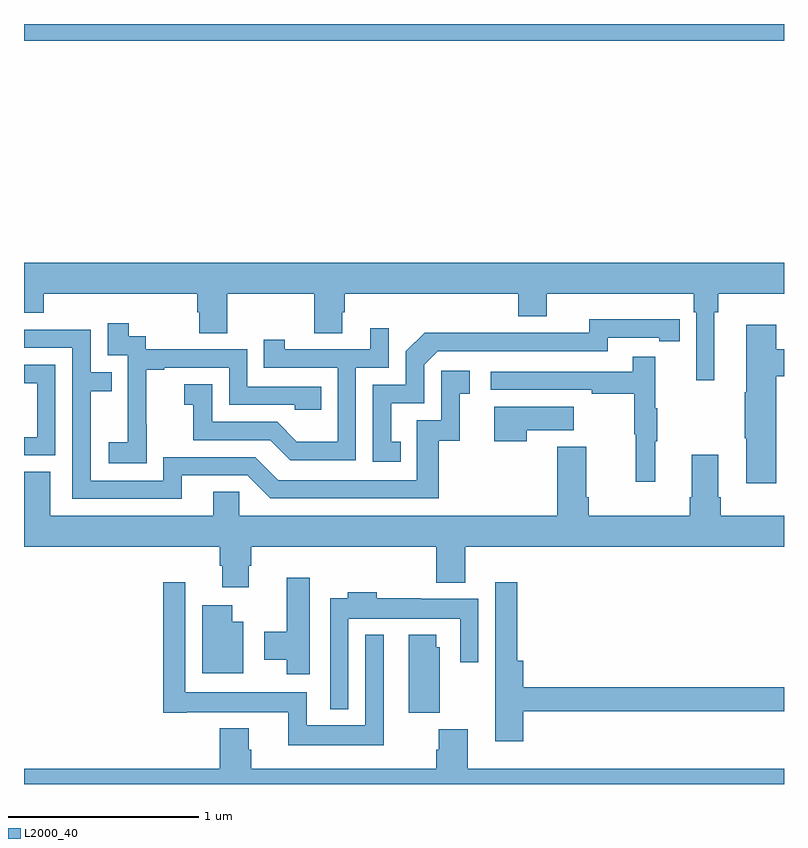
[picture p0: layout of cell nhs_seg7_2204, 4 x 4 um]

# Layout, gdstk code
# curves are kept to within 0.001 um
import gdstk
lib = gdstk.Library(unit=1e-6, precision=1e-09)
def R(c, l, rs):  # rectangles x0, y0, x1, y1
    for r in rs: c.add(gdstk.rectangle(r[:2], r[2:], *l))
def P(c, l, *ps):  # polygons
    for p in ps: c.add(gdstk.Polygon(p, *l))
L2000_40 = (2000, 40)

nhs_seg7_2204 = lib.new_cell('nhs_seg7_2204')
R(nhs_seg7_2204, L2000_40, [(255,1037.912,259,1038)])
P(nhs_seg7_2204, L2000_40, [(258.634,1036.484),(258.653,1036.484),(258.653,1036.58),(259,1036.58),(259,1036.744),(255,1036.744),(255,1036.481),(255.104,1036.481),(255.104,1036.58),(255.911,1036.58),(255.911,1036.482),(255.923,1036.482),(255.923,1036.372),(256.071,1036.372),(256.071,1036.58),(256.528,1036.58),(256.528,1036.372),(256.675,1036.372),(256.675,1036.482),(256.688,1036.482),(256.688,1036.58),(257.6,1036.58),(257.6,1036.463),(257.752,1036.463),(257.752,1036.58),(258.524,1036.58),(258.524,1036.484),(258.537,1036.484),(258.537,1036.125),(258.634,1036.125)],
  [(256.982,1035.801),(256.933,1035.801),(256.933,1036.005),(257.106,1036.005),(257.106,1036.206),(257.178,1036.278),(258.072,1036.278),(258.072,1036.35),(258.344,1036.35),(258.344,1036.33),(258.452,1036.33),(258.452,1036.446),(257.976,1036.447),(257.976,1036.374),(257.516,1036.374),(257.516,1036.376),(257.108,1036.376),(257.01,1036.278),(257.01,1036.101),(256.836,1036.101),(256.836,1035.696),(256.982,1035.696)],
  [(255.645,1035.895),(255.644,1035.895),(255.644,1036.179),(255.739,1036.179),(255.739,1036.191),(256.08,1036.191),(256.08,1035.996),(256.425,1035.996),(256.425,1035.969),(256.565,1035.969),(256.565,1036.092),(256.176,1036.092),(256.176,1036.287),(255.642,1036.287),(255.642,1036.356),(255.55,1036.356),(255.55,1036.426),(255.441,1036.426),(255.441,1036.257),(255.546,1036.257),(255.546,1036.028),(255.545,1036.028),(255.545,1035.799),(255.447,1035.799),(255.447,1035.689),(255.645,1035.689)],
  [(258.959,1036.145),(259,1036.145),(259,1036.287),(258.959,1036.287),(258.959,1036.417),(258.8,1036.417),(258.8,1036.061),(258.793,1036.061),(258.793,1035.82),(258.8,1035.82),(258.8,1035.582),(258.959,1035.582)],
  [(256.746,1036.191),(256.92,1036.191),(256.92,1036.399),(256.823,1036.399),(256.823,1036.287),(256.372,1036.287),(256.372,1036.339),(256.261,1036.339),(256.261,1036.191),(256.65,1036.191),(256.65,1035.802),(256.436,1035.802),(256.332,1035.906),(255.99,1035.906),(255.99,1036.105),(255.843,1036.105),(255.843,1035.995),(255.892,1035.995),(255.892,1035.81),(256.295,1035.81),(256.4,1035.705),(256.746,1035.705)],
  [(255.829,1035.624),(256.176,1035.624),(256.296,1035.504),(257.183,1035.504),(257.183,1035.807),(257.294,1035.807),(257.294,1036.053),(257.347,1036.053),(257.347,1036.174),(257.196,1036.174),(257.196,1035.915),(257.067,1035.915),(257.067,1035.6),(256.338,1035.6),(256.218,1035.72),(255.732,1035.72),(255.732,1035.597),(255.351,1035.597),(255.351,1036.066),(255.461,1036.066),(255.461,1036.167),(255.351,1036.167),(255.351,1036.392),(255,1036.392),(255,1036.296),(255.255,1036.296),(255.255,1035.501),(255.829,1035.501)],
  [(258.323,1035.803),(258.334,1035.803),(258.334,1035.977),(258.323,1035.977),(258.323,1036.249),(258.205,1036.249),(258.205,1036.17),(257.457,1036.17),(257.457,1036.074),(257.989,1036.074),(257.989,1036.054),(258.213,1036.054),(258.213,1035.84),(258.22,1035.84),(258.22,1035.591),(258.323,1035.591)],
  [(255.165,1036.206),(255,1036.206),(255,1036.11),(255.069,1036.11),(255.069,1035.825),(255,1035.825),(255,1035.729),(255.165,1035.729)],
  [(257.645,1035.863),(257.893,1035.863),(257.893,1035.985),(257.474,1035.985),(257.474,1035.804),(257.645,1035.804)],
  [(256.183,1035.15),(256.196,1035.15),(256.196,1035.248),(257.171,1035.248),(257.171,1035.059),(257.323,1035.059),(257.323,1035.248),(259,1035.248),(259,1035.412),(258.668,1035.412),(258.668,1035.508),(258.655,1035.508),(258.655,1035.733),(258.515,1035.733),(258.515,1035.508),(258.503,1035.508),(258.503,1035.412),(257.972,1035.412),(257.972,1035.508),(257.959,1035.508),(257.959,1035.775),(257.807,1035.775),(257.807,1035.412),(256.134,1035.412),(256.134,1035.539),(255.995,1035.539),(255.995,1035.412),(255.139,1035.412),(255.139,1035.644),(255,1035.644),(255,1035.248),(256.031,1035.248),(256.031,1035.15),(256.043,1035.15),(256.043,1035.036),(256.183,1035.036)],
  [(256.504,1035.085),(256.382,1035.085),(256.382,1034.802),(256.265,1034.802),(256.265,1034.654),(256.382,1034.654),(256.382,1034.577),(256.504,1034.577)],
  [(257.627,1034.382),(259,1034.382),(259,1034.51),(257.627,1034.51),(257.627,1034.65),(257.597,1034.65),(257.597,1035.061),(257.481,1035.061),(257.481,1034.487),(257.48,1034.487),(257.48,1034.226),(257.627,1034.226)],
  [(256.894,1034.785),(256.797,1034.785),(256.797,1034.308),(256.488,1034.308),(256.488,1034.482),(255.849,1034.482),(255.849,1035.061),(255.733,1035.061),(255.733,1034.376),(255.856,1034.376),(255.856,1034.378),(256.391,1034.378),(256.391,1034.204),(256.894,1034.204)],
  [(256.707,1034.87),(257.295,1034.87),(257.295,1034.64),(257.391,1034.64),(257.391,1034.974),(257.087,1034.974),(257.087,1034.977),(256.856,1034.977),(256.856,1035.01),(256.703,1035.01),(256.703,1034.977),(256.611,1034.977),(256.611,1034.393),(256.707,1034.393)],
  [(256.153,1034.854),(256.096,1034.854),(256.096,1034.941),(255.938,1034.941),(255.938,1034.582),(256.153,1034.582)],
  [(257.188,1034.721),(257.17,1034.721),(257.17,1034.785),(257.024,1034.785),(257.024,1034.374),(257.188,1034.374)],
  [(259,1034.08),(257.336,1034.08),(257.336,1034.289),(257.183,1034.289),(257.183,1034.18),(257.171,1034.18),(257.171,1034.08),(256.196,1034.08),(256.196,1034.181),(256.183,1034.181),(256.183,1034.293),(256.031,1034.293),(256.031,1034.08),(255,1034.08),(255,1034),(259,1034)])

lib.write_gds('nhs_seg7_2204.gds')
